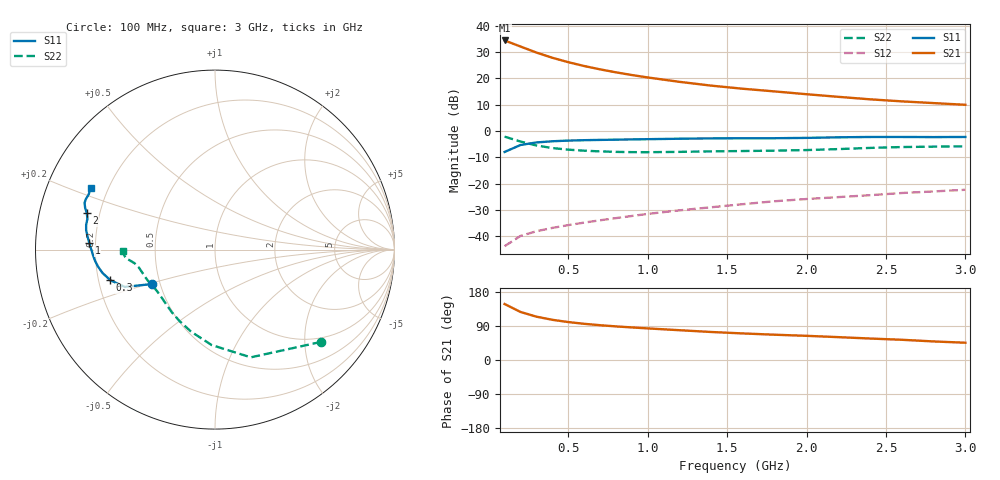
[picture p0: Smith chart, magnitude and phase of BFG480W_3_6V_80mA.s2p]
! Filename: 3_680BFG480.001
! Title: BFG480W
! Bias: Vce=3.6V; Ic=80mA
! Company: Philips Semiconductors NL
! User: Quality&Reliability T&D
! Measure time: 10 Nov 1999 / 12:00:33
#  MHz  S  MA  R 50
! Freq  S11  S21  S12  S22  :
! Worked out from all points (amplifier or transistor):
!   20 points, 100 MHz to 3 GHz, reference 50 ohm
!   highest |S21| = 34.4 dB at 100 MHz (marker M1)
!   |S21| within 3 dB of that: start of sweep to 230.5 MHz
!   unconditionally stable (mu >= 1): 785.8 MHz to end of sweep
!   at 400 MHz: K = 0.76, MSG = 32.3 dB, |S12| = -36.8 dB
!   at 1.2 GHz: K = 1.07, MAG = 22.8 dB, |S12| = -30.1 dB
!   at 3 GHz: K = 1.05, MAG = 14.8 dB, |S12| = -22.3 dB
!   S11 on the Smith chart (normalised r, x): 100 MHz: 0.45, -0.21; 300 MHz: 0.25, -0.13; 1 GHz: 0.18, +0.03; 2 GHz: 0.15, +0.14; 3 GHz: 0.14, +0.23
100  0.4009 -151.4  52.52 147.8  0.006522 69.1  0.7835 -41.0
200  0.5435 -157.5  40.29 126.8  0.0102 59.9  0.6325 -71.6
300  0.6078 -163.7  30.97 114.3  0.01253 57.8  0.5321 -92.0
400  0.6402 -168.3  24.66 106.1  0.01448 59.3  0.476 -106.3
500  0.659 -171.8  20.34 100.2  0.01635 60.9  0.4437 -116.6
600  0.6709 -174.6  17.19 95.5  0.01825 62.9  0.4241 -124.4
700  0.6792 -177.0  14.86 91.8  0.02021 65.0  0.4111 -130.5
800  0.6861 -179.2  13.04 88.7  0.02222 66.7  0.4026 -135.6
900  0.6944 178.8  11.59 86.0  0.0244 68.7  0.398 -140.0
1000  0.701 177.0  10.42 83.4  0.0267 69.8  0.3969 -143.9
1200  0.7155 173.8  8.606 78.6  0.03123 71.7  0.4025 -150.2
1400  0.7258 171.5  7.288 73.9  0.03574 72.8  0.4119 -154.9
1600  0.731 169.1  6.358 70.1  0.04093 73.8  0.4177 -158.5
1800  0.7313 166.5  5.654 66.7  0.04652 74.5  0.4246 -162.3
2000  0.7419 164.2  5.006 63.8  0.05125 75.2  0.4357 -166.7
2200  0.7609 162.0  4.467 60.3  0.0557 75.2  0.4547 -170.4
2400  0.7721 160.3  4.005 56.6  0.06058 74.7  0.4787 -172.8
2600  0.7724 158.6  3.663 53.4  0.06665 74.2  0.4972 -174.3
2800  0.768 156.3  3.396 49.0  0.07138 72.8  0.506 -176.1
3000  0.7727 153.7  3.154 45.6  0.07679 72.1  0.5133 -179.0
